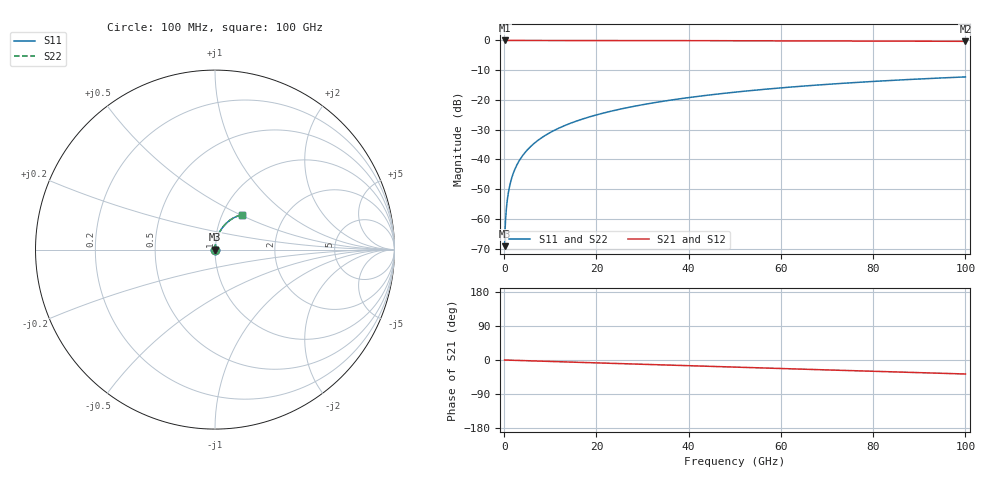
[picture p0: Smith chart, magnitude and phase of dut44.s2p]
! Touchstone file exported from HFSS 2026.1.0
!  File:  C:/ffzhzh/LocalFiles/Ansys_Project_Files/temp_train_TSV_44_1783504831_55944.aedt
!  Generated:  06:02:00 PM Jul  8, 2026
!  Design:  TSV
!  Project:  temp_train_TSV_44_1783504831_55944
! Variables:
!  h_bsmrdl = 2um
!  h_ox = 20um
!  h_rdl = 5um
!  h_sub = 61.56um
!  h_tmrdl = 5um
!  h_tsv = 61.56um
!  h_via = 3um
!  l_bsmrdl = 300um
!  l_sub = 415.6um
!  l_tmrdl = 200um
!  m_sub = 200um
!  pitch = 56.33um
!  r_tsv = 7.8um
!  s_tmrdl = 10um
!  w_bsmrdl = 18um
!  w_sub = 500um
!  w_tmrdl = 12um
!  x_tsv_center1 = 206um
!  x_tsv_center2 = 524um
!  x_tsv_center3 = 736um
!  x_tsv_center4 = 1054um
!  x_tsv_center5 = 1266um
!  x_tsv_center6 = 1584um
# GHz S MA R 50.000000
! Terminal data exported
! Port[1] = TSV1_1_T1
! Port[2] = TSV1_1_T2
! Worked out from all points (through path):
!   1000 points, 100 MHz to 100 GHz, reference 50 ohm
!   highest |S21| = 0.00 dB at 100 MHz (marker M1); lowest = -0.3 dB at 100 GHz (marker M2)
!   group delay of S21, straight-line fit = 1.03 ps
!   lowest |S11| = -69.1 dB at 100 MHz (marker M3), VSWR 1.00, Z = 50 + j0.0316 ohm
!   |S11| at or under -10 dB: start of sweep to end of sweep
!   |S22| runs from -69.1 to -12.3 dB; largest |S21 - S12| = 3.5e-15
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0.1  0.0003493 64.6  0.9999 -0.0  0.9999 -0.0  0.0003493 64.6
! Gamma 0 0 0 0
! Port Impedance 50 0 50 0
0.3  0.0009497 79.3  0.9998 -0.1  0.9998 -0.1  0.0009497 79.3
0.7  0.002137 83.7  0.9998 -0.3  0.9998 -0.3  0.002137 83.7
0.8  0.002431 84.1  0.9998 -0.3  0.9998 -0.3  0.002431 84.1
1  0.003017 84.7  0.9997 -0.4  0.9997 -0.4  0.003017 84.7
1.3  0.003892 85.2  0.9997 -0.5  0.9997 -0.5  0.003892 85.2
1.7  0.005051 85.6  0.9997 -0.7  0.9997 -0.7  0.005051 85.6
2.3  0.006775 85.8  0.9996 -0.9  0.9996 -0.9  0.006775 85.8
3  0.008768 85.8  0.9995 -1.2  0.9995 -1.2  0.008768 85.8
3.8  0.01103 85.8  0.9994 -1.5  0.9994 -1.5  0.01103 85.8
4.8  0.01385 85.7  0.9993 -1.8  0.9993 -1.8  0.01385 85.7
6  0.01723 85.5  0.9992 -2.3  0.9992 -2.3  0.01723 85.5
8.8  0.02508 84.8  0.9989 -3.4  0.9989 -3.4  0.02508 84.9
12.4  0.03511 83.7  0.9984 -4.7  0.9984 -4.7  0.03511 83.7
16.8  0.04728 82.3  0.9978 -6.4  0.9978 -6.4  0.04728 82.3
24.2  0.06755 79.7  0.9964 -9.2  0.9964 -9.2  0.06755 79.7
33.4  0.09228 76.4  0.9942 -12.6  0.9942 -12.6  0.09228 76.4
41.2  0.1127 73.6  0.9919 -15.5  0.9919 -15.5  0.1127 73.6
50.1  0.1354 70.4  0.9889 -18.8  0.9889 -18.8  0.1354 70.4
66.7  0.1754 64.4  0.9824 -24.9  0.9824 -24.9  0.1754 64.4
83.4  0.2119 58.4  0.9749 -31.0  0.9749 -31.0  0.2119 58.4
100  0.244 52.5  0.9672 -36.9  0.9672 -36.9  0.244 52.5
